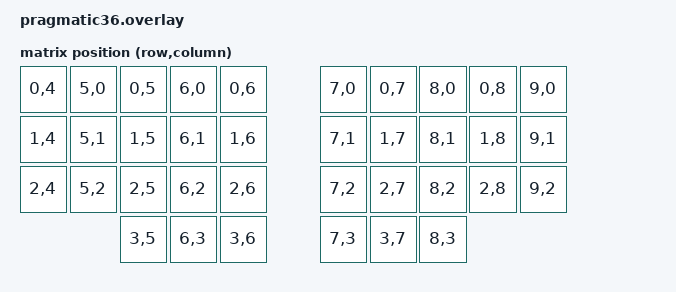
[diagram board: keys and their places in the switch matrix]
#include <dt-bindings/zmk/matrix_transform.h>

/ {
    chosen {
        zmk,kscan = &kscan0;
        zmk,matrix-transform = &default_transform;
    };

    default_transform: keymap_transform_0 {
        compatible = "zmk,matrix-transform";
        columns = <10>;
        rows = <4>;
        map = <
        RC(0,4) RC(5,0) RC(0,5) RC(6,0) RC(0,6)                   RC(7,0) RC(0,7) RC(8,0) RC(0,8) RC(9,0)
        RC(1,4) RC(5,1) RC(1,5) RC(6,1) RC(1,6)                   RC(7,1) RC(1,7) RC(8,1) RC(1,8) RC(9,1)
        RC(2,4) RC(5,2) RC(2,5) RC(6,2) RC(2,6)                   RC(7,2) RC(2,7) RC(8,2) RC(2,8) RC(9,2)
                        RC(3,5) RC(6,3) RC(3,6)                   RC(7,3) RC(3,7) RC(8,3)
        >;
    };

    kscan0: kscan_0 {
        compatible = "zmk,kscan-gpio-charlieplex";

        gpios
            = <&pro_micro 20 (GPIO_ACTIVE_HIGH | GPIO_PULL_DOWN)> // 0 row 1
            , <&pro_micro 19 (GPIO_ACTIVE_HIGH | GPIO_PULL_DOWN)> // 1 row 2
            , <&pro_micro 18 (GPIO_ACTIVE_HIGH | GPIO_PULL_DOWN)> // 2 row 3
            , <&pro_micro  5 (GPIO_ACTIVE_HIGH | GPIO_PULL_DOWN)> // 3 row 4
            , <&pro_micro 15 (GPIO_ACTIVE_HIGH | GPIO_PULL_DOWN)> // 4 col 1
            , <&pro_micro 14 (GPIO_ACTIVE_HIGH | GPIO_PULL_DOWN)> // 5 col 2, 3
            , <&pro_micro 16 (GPIO_ACTIVE_HIGH | GPIO_PULL_DOWN)> // 6 col 4, 5
            , <&pro_micro  8 (GPIO_ACTIVE_HIGH | GPIO_PULL_DOWN)> // 7 col 6, 7
            , <&pro_micro  7 (GPIO_ACTIVE_HIGH | GPIO_PULL_DOWN)> // 8 col 8, 9
            , <&pro_micro  6 (GPIO_ACTIVE_HIGH | GPIO_PULL_DOWN)> // 9 col 10
            ;
    };
};
